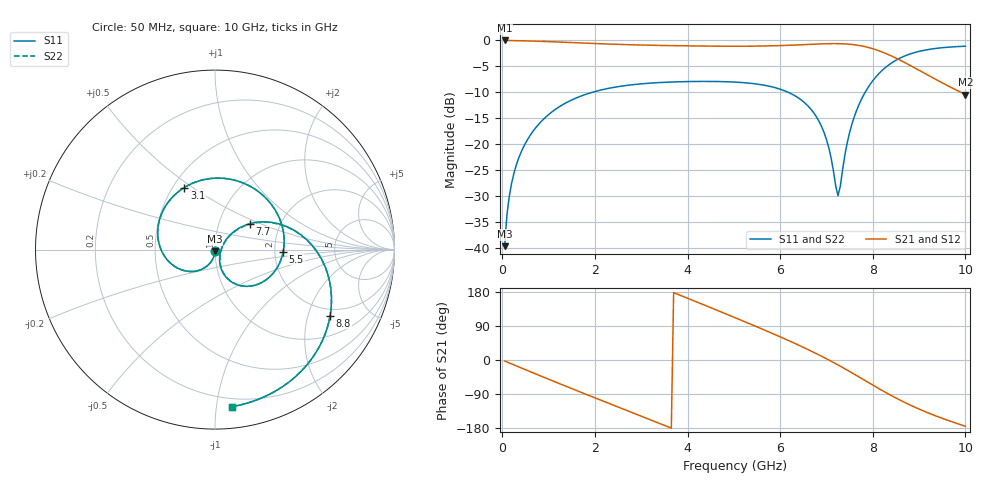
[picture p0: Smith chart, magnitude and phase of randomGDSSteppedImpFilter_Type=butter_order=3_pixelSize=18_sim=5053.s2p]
! freq	dB(S11)	phase(S11)	dB(S12)	phase(S12)
!  dB(S21)	phase(S21)	dB(S22)	phase(S22)
!S-par simulation data
#  GHz  S  DB  R 50
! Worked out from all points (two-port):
!   200 points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, 50 MHz to 10 GHz, reference 50 ohm
!   highest |S21| = 0.00 dB at 50 MHz (marker M1); lowest = -10.4 dB at 10 GHz (marker M2)
!   |S21| within 3 dB of the highest: start of sweep to 8.408 GHz
!   lowest |S11| = -39.6 dB at 50 MHz (marker M3), VSWR 1.02, Z = 49.9 - j1.05 ohm
!   |S11| at or under -10 dB: start of sweep to 1.934 GHz; 6.179 GHz to 7.834 GHz (1.655 GHz wide, 23.6 % of centre)
!   |S22| runs from -39.6 to -1.1 dB; largest |S21 - S12| = 0
!   S11 on the Smith chart (normalised r, x): 50 MHz: 1.00, -0.02; 3.1 GHz: 0.57, +0.46; 5.5 GHz: 2.23, -0.06; 7.7 GHz: 1.40, +0.43; 8.8 GHz: 1.72, -2.79; 10 GHz: 0.14, -1.10
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0.05  -39.57 -92.3  -0.00 -2.6  -0.00 -2.6  -39.57 -92.3
0.1  -33.55 -95.0  -0.01 -5.2  -0.01 -5.2  -33.55 -95.0
0.2  -27.53 -100.3  -0.03 -10.3  -0.03 -10.3  -27.53 -100.3
0.5  -19.77 -116.3  -0.08 -25.6  -0.08 -25.6  -19.77 -116.3
1.15  -13.24 -148.8  -0.28 -58.2  -0.28 -58.2  -13.24 -148.9
1.75  -10.53 -178.4  -0.51 -87.7  -0.51 -87.7  -10.53 -178.5
2.4  -9.04 150.0  -0.73 -119.1  -0.73 -119.1  -9.04 150.0
3.1  -8.27 116.3  -0.90 -152.9  -0.90 -152.9  -8.27 116.2
3.4  -8.10 101.8  -0.96 -167.5  -0.96 -167.5  -8.10 101.7
4.2  -7.89 62.7  -1.07 153.1  -1.07 153.1  -7.89 62.7
5.05  -8.03 20.7  -1.12 110.5  -1.12 110.5  -8.02 20.7
5.5  -8.39 -1.7  -1.09 87.5  -1.09 87.5  -8.39 -1.6
6.1  -9.70 -31.9  -0.96 55.8  -0.96 55.8  -9.70 -31.8
6.7  -13.63 -62.0  -0.73 21.8  -0.73 21.8  -13.62 -61.5
7  -19.05 -72.1  -0.63 3.3  -0.63 3.3  -19.01 -71.2
7.25  -29.85 -15.5  -0.62 -13.0  -0.62 -13.0  -29.28 -15.5
7.45  -19.60 43.9  -0.70 -26.8  -0.70 -26.8  -19.54 42.7
7.7  -12.39 36.8  -0.96 -44.5  -0.96 -44.5  -12.38 36.3
8.35  -4.68 -3.3  -2.77 -90.5  -2.77 -90.5  -4.67 -3.5
8.8  -2.62 -29.8  -4.77 -118.5  -4.77 -118.5  -2.62 -29.9
9.4  -1.49 -59.4  -7.68 -149.4  -7.68 -149.4  -1.49 -59.5
10  -1.11 -83.8  -10.40 -174.8  -10.40 -174.8  -1.11 -83.9
